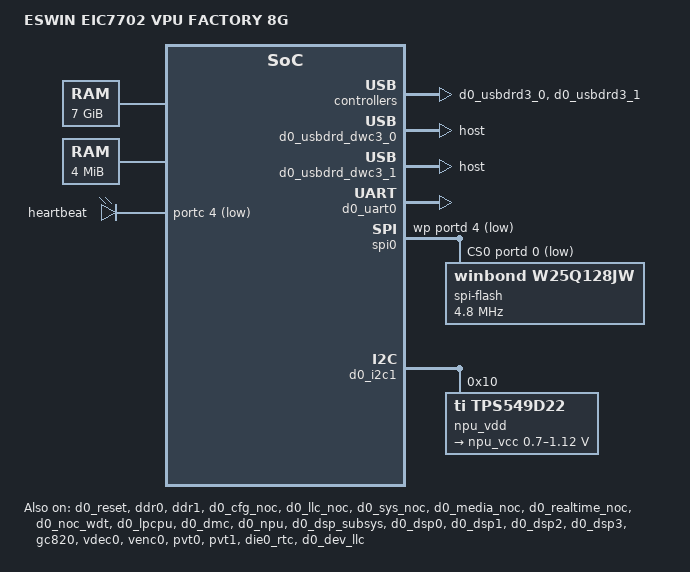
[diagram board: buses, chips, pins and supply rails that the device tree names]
// SPDX-License-Identifier: GPL-2.0
/*
 * Device Tree file for Eswin EIC7700 SoC.
 *
 * Copyright 2024, Beijing ESWIN Computing Technology Co., Ltd.. All rights reserved.
 * SPDX-License-Identifier: GPL-2.0
 *
 * This program is free software: you can redistribute it and/or modify
 * it under the terms of the GNU General Public License as published by
 * the Free Software Foundation, version 2.
 *
 * This program is distributed in the hope that it will be useful,
 * but WITHOUT ANY WARRANTY; without even the implied warranty of
 * MERCHANTABILITY or FITNESS FOR A PARTICULAR PURPOSE.  See the
 * GNU General Public License for more details.
 *
 * You should have received a copy of the GNU General Public License
 * along with this program.  If not, see <https://www.gnu.org/licenses/>.
 */

/dts-v1/;

#define RTCCLK_FREQ		1000000
#define LSPCLK_FREQ		200000000

/* If wanna enable ECC capability of DDR, should reserve highest zone of 1/8 all space for it */
#define MEMORY_SIZE_H		0x1
#define MEMORY_SIZE_L		0xc0000000
#define CMA_SIZE		0x20000000

#include "eswin-win2030-die0-soc.dtsi"
#include "eic7700-pinctrl.dtsi"
#include <dt-bindings/interrupt-controller/irq.h>
#include <dt-bindings/gpio/gpio.h>
#include <dt-bindings/input/input.h>

/* Clock frequency (in Hz) of the PCB crystal for rtcclk */

/ {
	#address-cells = <2>;
	#size-cells = <2>;
	model = "ESWIN EIC7702 VPU FACTORY 8G";
	compatible = "eswin,eic7x";

	aliases {
		serial0 = &d0_uart0;
		rtc0 = &die0_rtc;
	};

	chosen {
		stdout-path = "serial0:115200n8";
		opensbi_domain_config: domain-config {
			compatible = "opensbi,domain,config";
			system-suspend-test;
		};
	};

	cpus {
		timebase-frequency = <RTCCLK_FREQ>;
	};

	memory@80000000 {
		device_type = "memory";
		reg = <0x0 0x80000000 MEMORY_SIZE_H MEMORY_SIZE_L>;
		numa-node-id = <0>;
	};

	memory@59000000 {
		device_type = "memory";
		reg = <0x0 0x59000000 0x0 0x400000>;
		numa-node-id = <0>;
	};

	reserved-memory {
		#address-cells = <2>;
		#size-cells = <2>;
		ranges;

		linux,cma {
			compatible = "shared-dma-pool";
			reusable;
			size = <0x0 CMA_SIZE>;
			alignment = <0x0 0x1000>;
			alloc-ranges = <0x0 0x80000000 MEMORY_SIZE_H MEMORY_SIZE_L>;
			linux,cma-default;
		};

		npu0_reserved: sprammemory@59000000 {
			no-map;
			reg = <0x0 0x59000000 0x0 0x400000>;
		};

		ramoops@fff00000 {
			compatible = "ramoops";
			reg = <0x0 0xfff00000 0x0 0x100000>;
			console-size = <0x40000>;
			record-size = <0x40000>;
			ftrace-size = <0x40000>;
			pmsg-size = <0x40000>;
			no-map;
		};

		mmz_nid_0_part_0 {
			compatible = "eswin-reserve-memory";
			reg = <0x1 0x40000000 0x0 0x40000000>;
			no-map;
		};

		pci_phys_mem_0 {
			compatible = "eswin-reserve-memory";
			reg = <0x80 0x0 0x20 0x0>;
			no-map;
		};

		rpc_reserved:rpc_reserved@100000000 {
			reg = <0x1 0x0 0 0x1000>;
			no-map;
		};

		commu_reserved:commu_reserved@100001000 {
			reg = <0x1 0x1000 0 0x10000>;
			no-map;
		};

		kernel_debug_reserved:kernel_debug_reserved@100011000 {
			reg = <0x1 0x11000 0 0x100000>;
			no-map;
		};

		pgretire_reserved:pgretire_reserved@100111000 {
			reg = <0x1 0x111000 0 0x100000>;
			no-map;
		};

		configs_reserved:configs_reserved@100211000 {
			reg = <0x1 0x211000 0 0x1000>;
			no-map;
		};

		ipcm_vdev0vring0:vdev0vring0@100212000 {
			reg = <0x1 0x212000 0 0x100000>;
			no-map;
		};

		ipcm_vdev0vring1:vdev0vring1@100312000 {
			reg = <0x1 0x312000 0 0x100000>;
			no-map;
		};

		ipcm_vdev0buffer:vdev0buffer@100412000 {
			compatible = "shared-dma-pool";
			reg = <0x1 0x412000 0 0x4000000>; // pre is rx
			no-map;
		};

		rsc_table0:rsc_table0@104412000 {
			reg = <0x1 0x4412000 0 0x1000>;
			no-map;
		};

		version_table:version_table@104413000 {
			reg = <0x1 0x4413000 0 0x1000>;
			no-map;
		};

		bd_table:bd_table@104414000 {
			reg = <0x1 0x4414000 0 0x1000>;
			no-map;
		};

		usage_table:usage_table@104415000 {
			reg = <0x1 0x4415000 0 0x1000>;
			no-map;
		};

		share_memory {
			compatible = "eswin,shm";
			#address-cells = <2>;
			#size-cells = <2>;
			phys-base = <0x1 0x4416000>;
			virt-base = <0x1 0x4416000>;
			shm-size = <0xb7ea000>;
			reg = <0x1 0x4416000 0 0xb7ea000>;
		};

		pci_phys_mem_1 {
			compatible = "eswin-reserve-memory";
			reg = <0x1 0xFC00000 0 0x400000>;
			no-map;
		};
	};

	soc {
		d0_ipcm:ipcm@0 {
			compatible = "eswin,ipcm", "simple-bus";
			#address-cells = <2>;
			#size-cells = <2>;
			vf_id = <0>;
			numa-node-id = <0>;
			memory-region = <&ipcm_vdev0vring0>,<&ipcm_vdev0vring1>,<&ipcm_vdev0buffer>;
			interrupt-parent = <&plic0>;
			interrupts = <123>;
		  	smmu_dev = <&smmu_cfg_0>;
		};

		dev_smmu_cfg: smmu_cfg@0 {
			compatible = "eswin,vpu7702_dev_smmu_cfg";
			#size-cells = <2>;
			dma-ranges = <0x0 0x20000000 0x0 0xc0000000 0x0 0xc0000000>;
			iommus = <&smmu0 WIN2030_SID_DEV_FOO_B>;
			iommu-map = <0x000000 &smmu0 0xff0000 0xffffff>;
			tbus = <WIN2030_TBUID_PCIE>;
			status = "okay";
			numa-node-id = <0>;
			dma-noncoherent;
                        #include "smmu_cfg.dtsi"

		};
	};

	leds {
		compatible = "gpio-leds";
		pinctrl-names = "default";
		pinctrl-0 = <&pinctrl_gpio68_default>;
		gpio-68 {
			label = "heartbeat";
			gpios = <&portc 4 GPIO_ACTIVE_LOW>;
			linux,default-trigger = "heartbeat";
		};
	};
};

&d0_trip_threshold {
	temperature = <60000>;
};
&d0_trip_target {
	temperature = <70000>;
};
&d0_trip_crit {
	temperature = <80000>;
};

&d0_clock {
	status = "okay";
};

&d0_reset {
	status = "okay";
};

&d0_pmu {
	status = "okay";
	npu-supply = <&npu_vcc>;
	d0_pmu_pcie: win2030-pmu-controller-port@0 {
		power_status = <2>;
	};
};

&ddr0 {
	status = "okay";
};

&ddr1 {
	status = "okay";
};

&smmu0 {
	status = "okay";
};

&smmu_pmu0 {
	status = "disabled";
};

&d0_cfg_noc {
	status = "okay";
};

&d0_llc_noc {
	status = "okay";
	stat,0 = "TracePort:ddr0_p0_req";
	stat,1 = "TracePort:ddr1_p0_req";
	//latency,0 = "TracePort:llcnoc_trans_probe";
	//pending,0 = "TracePort:llcnoc_trans_probe";
};

&d0_sys_noc {
	status = "okay";

	//eswin,DSPT-qos-owner;
	//eswin,NPU-qos-owner;
	//eswin,SPISLV_TBU3-qos-owner;

#if 0
	stat,0 = "TracePort:ddr0_p1_req",
		 "InitFlow:mcput_snoc_mp/I/0";

	stat,1 = "TracePort:ddr0_p2_req",
		 "InitFlow:dspt_snoc/I/0",
		 "AddrBase:0x81000000", "AddrSize:0x30",
		 "Opcode:RdWrLockUrg", "Status:ReqRsp", "Length:0x8000", "Urgency:0x0";

	stat,2 = "TracePort:ddr1_p1_req",
		 "Status:Req", "AddrSize:0x28";

	stat,3 = "TracePort:ddr1_p2_req";
#else
	stat,0 = "TracePort:ddr0_p1_req";

	stat,1 = "TracePort:ddr0_p2_req";

	stat,2 = "TracePort:ddr1_p1_req";

	stat,3 = "TracePort:ddr1_p2_req";
#endif

	latency,0 = "TracePort:sysnoc_trans_probe_0", "AddrSize:0x0";
	latency,1 = "TracePort:sysnoc_trans_probe_1","Mode:latency","AddrBase:0x82000000","AddrSize:0x28","Opcode:RdWr";
	//latency,2 = "TracePort:sysnoc_trans_probe_2";

	//pending,0 = "TracePort:sysnoc_trans_probe_0";
	//pending,1 = "TracePort:sysnoc_trans_probe_1","Mode:latency","AddrBase:0x82000000","AddrSize:0x0","Opcode:RdWr";
	pending,0 = "TracePort:sysnoc_trans_probe_2", "AddrSize:0x3";
};

&d0_media_noc {
	status = "okay";

	//eswin,GPU-qos-owner;
	//eswin,TBU2-qos-owner;
	//eswin,VC-qos-owner;

	stat,0 = "TracePort:ddr0_p3_req";
	stat,1 = "TracePort:ddr1_p3_req";
	//latency,0 = "TracePort:mnoc_trans_probe";
	//pending,0 = "TracePort:mnoc_trans_probe";
};

&d0_realtime_noc {
	status = "okay";

	//eswin,TBU0-qos-owner;
	//eswin,VO-qos-owner;

	stat,0 = "TracePort:ddr0_p4_req";
	stat,1 = "TracePort:ddr1_p4_req";
	//latency,0 = "TracePort:rnoc_trans_probe";
	//pending,0 = "TracePort:rnoc_trans_probe";
};

&d0_noc_wdt {
	status = "okay";
};

&d0_ipc_scpu {
	status = "okay";
};

&d0_lpcpu {
	status = "okay";
};
&d0_dmc {
        status = "okay";
};

&pcie {
	status = "disabled";
};

&d0_npu {
	status = "okay";
	max_freq = <1040000000>;
	npu-supply = <&npu_vcc>;
};

&d0_dsp_subsys {
	status = "okay";
};

&d0_dsp0 {
	status = "okay";
};

&d0_dsp1 {
	status = "okay";
};

&d0_dsp2 {
	status = "okay";
};

&d0_dsp3 {
	status = "okay";
};

&gpu0 {
	status = "disabled";
};

&gc820 {
	status = "okay";
};

&vdec0 {
	status = "okay";
};

&venc0 {
	status = "okay";
};

&video_output {
	status = "disabled";
};

&dc {
	status = "disabled";
};

&dc_test {
	status = "disabled";
};

&virtual_display {
	status = "disabled";
};

&dsi_output {
	status = "disabled";
};

&dsi_controller {
	status = "disabled";
};

&dw_hdmi {
	status = "disabled";
};

&dw_hdmi_hdcp2 {
    status = "disabled";
};

&d0_i2s0 {
	status = "disabled";
};

&d0_i2s1 {
	status = "disabled";
};

&d0_i2s2 {
	status = "disabled";
};

&d0_graphcard0 {
	status = "disabled";
};

&d0_graphcard1 {
	status = "disabled";
};

&d0_graphcard2 {
	status = "disabled";
};

&vi_subsys {
	status = "disabled";
};

&isp_0 {
	status = "disabled";
};

&isp_1 {
	status = "disabled";
};

&dewarp {
	status = "disabled";
};

&sdhci_emmc {
	/* emmc */
	status = "disabled";
};

&sdio0 {
	/* sd card */
	status = "disabled";
};

&sdio1 {
	/* wifi module */
	status = "disabled";
};

&d0_gmac0 {
	status = "disabled";
};

&d0_gmac1 {
	status = "disabled";
};

&d0_sata {
	status = "disabled";
};

&d0_sata_phy {
	status = "disabled";
};

&d0_usbdrd3_0 {
	status = "okay";
};

&d0_usbdrd_dwc3_0 {
	status = "okay";
	dr_mode = "host";
	maximum-speed = "super-speed";
};

&d0_usbdrd3_1 {
	status = "okay";
};

&d0_usbdrd_dwc3_1 {
	status = "okay";
	dr_mode = "host";
	maximum-speed = "super-speed";
};

&d0_dmac0 {
	status = "okay";
};

&d0_aon_dmac {
	status = "okay";
};

&d0_uart0 {
	/* debug */
	status = "okay";
};

&d0_uart1 {
	/* BT M.2 KEY-E */
	status = "disabled";
};

&d0_uart2 {
	/* RS232 DB9 */
	status = "disabled";
};

&d0_uart3 {
	/* unused */
	status = "disabled";
};

&d0_uart4 {
	/* unused */
	status = "disabled";
};

&spi1 {
	status = "disabled";
};

&spi2 {
	status = "disabled";
};

&spi0 {
	/* bootspi flash */
	status = "okay";
	num-cs = <1>;
	cs-gpios = <&portd 0 GPIO_ACTIVE_LOW>;
	wp-gpios = <&portd 4 GPIO_ACTIVE_LOW>;
	spi-flash@0 {
		compatible = "winbond,w25q128jw",
					"jedec,spi-nor";
		reg = <0>;
		#address-cells = <1>;
		#size-cells = <1>;
		spi-max-frequency = <4800000>;
		rx-sample-delay-ns = <10>;
	};
};

&d0_mbox0 {
	status = "okay";
};

&d0_mbox1 {
	status = "okay";
};

&d0_mbox2 {
	status = "okay";
};

&d0_mbox3 {
	status = "disabled";
};

&d0_mbox4 {
	status = "okay";
};

&d0_mbox5 {
	status = "okay";
};

&d0_mbox6 {
	status = "okay";
};

&d0_mbox7 {
	status = "okay";
};

&fan_control {
	status = "disabled";
};

&d0_i2c0 {
	/* 12V_DC_IN */
	status = "disabled";
	i2c-sda-hold-time-ns = <0x40>;
	ina226@44 {
		compatible = "ti,ina226";
		#io-channel-cells = <1>;
		label = "soc_vdd";
		reg = <0x44>;
		shunt-resistor = <1000>;
	};
};

&d0_i2c1 {
	/* NPU Power Control */
	status = "okay";
	tps549d22@10 {
		compatible = "ti,tps549d22";
		reg = <0x10>;
		eswin,regulator_default-microvolt=<1000000>;
		eswin,regulator_label = "Supply VDD", "NPU Voltage";
		label = "npu_vdd";
		regulators{
			npu_vcc:npu_svcc{
				regulator-name="NPU_SVCC";
				regulator-min-microvolt=<700000>;
				regulator-max-microvolt=<1120000>;
				regulator-min-microamp=<20000000>;
				regulator-max-microamp=<40000000>;
				regulator-ov-protection-microvolt=<1100000>;
			};
		};
	};
};

&d0_i2c2 {
	/* Temperature Sensor */
	status = "disabled";
	tmp102@48 {
		compatible = "ti,tmp102";
		reg = <0x48>;
		label = "d0_board_tmp";
		#thermal-sensor-cells = <1>;
	};
};

&d0_i2c3 {
	/* Die 2 Die Serdes */
	status = "disabled";
};

&d0_i2c4 {
	/* ADC */
	clock-frequency = <400000>;
	pinctrl-names = "default";
	pinctrl-0 = <&pinctrl_i2c10_default>;
	status = "disabled";

	adc@48 {
		compatible = "ti,ads1115";
		reg = <0x48>;
		#address-cells = <1>;
		#size-cells = <0>;

		channel@4 {
			reg = <4>;
			ti,gain = <0>;
			ti,datarate = <7>;
		};

		channel@5 {
			reg = <5>;
			ti,gain = <0>;
			ti,datarate = <7>;
		};

		channel@6 {
			reg = <6>;
			ti,gain = <0>;
			ti,datarate = <7>;
		};

		channel@7 {
			reg = <7>;
			ti,gain = <0>;
			ti,datarate = <7>;
		};
	};
};

&d0_i2c5 {
	/* AT24C02C EEPROM */
	status = "disabled";
	eswin,syscfg = <&d0_sys_con 0x3C0 16>;
	eeprom@50 {
		compatible = "atmel,24c02";
		reg = <0x50>;
	};
};

&d0_i2c6 {
	/* unused */
	status = "disabled";
};

&d0_i2c7 {
	/* unused */
	status = "disabled";
};

&d0_i2c8 {
	/* unused */
	status = "disabled";
};

&d0_i2c9 {
	/* unused */
	status = "disabled";
};

&d0_aon_i2c0 {
	/* SMBUS */
	status = "disabled";
};

&d0_aon_i2c1 {
	status = "disabled";
};

&pwm0 {
	/* fan */
	status = "disabled";
};

&pvt0 {
	status = "okay";
	compatible = "eswin,eswin-dummy-pvt-cpu";
	eswin,data-reg = <0x0 0x58800000 0xdff8>;
};

&pvt1 {
	status = "okay";
	compatible = "eswin,eswin-dummy-pvt-ddr";
	eswin,data-reg = <0x0 0x58800000 0xdffc>;
};

&wdt0 {
	status = "disabled";
};

&wdt1 {
	status = "disabled";
};

&wdt2 {
	status = "disabled";
};

&wdt3 {
	status = "disabled";
};

&die0_rtc {
	status = "okay";
};

&pinctrl {
	status = "okay";

	pinctrl_gpio58_default: gpio58-default {
		mux {
			groups = "gpio58_group";
			function = "gpio58_func";
		};
		conf {
			groups = "gpio58_group";
			input-enable = <1>;
			bias-pull-down = <0>;
		};
	};

	pinctrl_gpio59_default: gpio59-default {
		mux {
			groups = "gpio59_group";
			function = "gpio59_func";
		};
		conf {
			groups = "gpio59_group";
			input-enable = <1>;
			bias-pull-down = <0>;
		};
	};

	pinctrl_gpio60_default: gpio60-default {
		mux {
			groups = "gpio60_group";
			function = "gpio60_func";
		};
		conf {
			groups = "gpio60_group";
			input-enable = <1>;
			bias-pull-down = <0>;
		};
	};

	pinctrl_gpio61_default: gpio61-default {
		mux {
			groups = "gpio61_group";
			function = "gpio61_func";
		};
		conf {
			groups = "gpio61_group";
			input-enable = <1>;
			bias-pull-down = <0>;
		};
	};
};

/* GPIO Function Description

	gpio0   : pcie prstn(I)
	gpio5   : led back light power on/off(O)
	gpio6   : system key(I)
	gpio10  : dsi touch interrupt(I)
	gpio11  : head phone plug/unplug detection2(I)
	gpio12  : tf card power on/off(O)
	gpio14  : bt wake host(I)
	gpio15  : wlan wake host(I)
	gpio16  : gphy1 resetn(O)
	gpio28  : head phone plug/unplug detection1(I)
	gpio34  : m.2 power on/off(O)
	gpio94  : gphy0 resetn(O)
	gpio106 : touch reset(O)
	gpio107 : system led0(O)
	gpio108 : system led1(O)
	gpio109 : system led2(O)
	gpio110 : system led3(O)
	gpio111 : mipi dsi resetn(O)
*/

&gpio0 {
	status = "okay";
	pinctrl-names = "default";
	pinctrl-0 = <&pinctrl_gpio58_default
	&pinctrl_gpio59_default
	&pinctrl_gpio60_default
	&pinctrl_gpio61_default>;
};

&d0_dev_llc {
	npu-supply = <&npu_vcc>;
	status = "okay";
};
